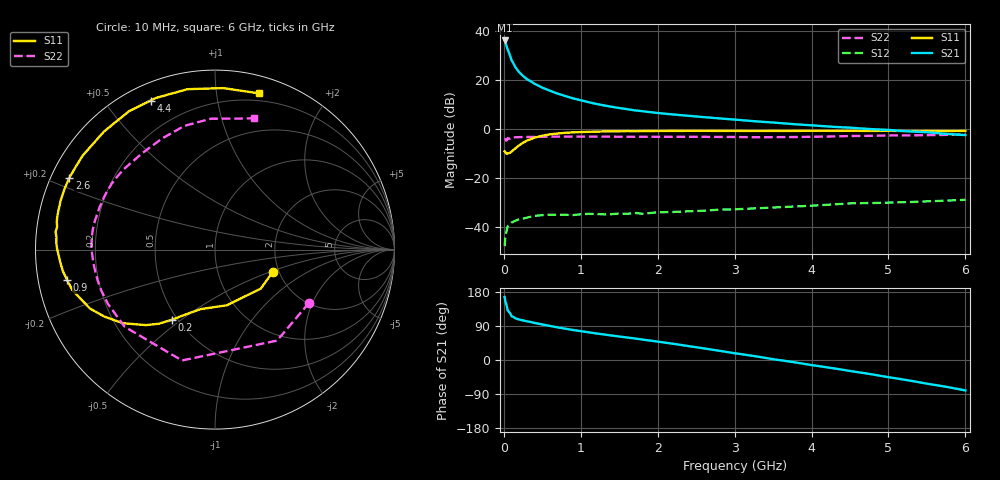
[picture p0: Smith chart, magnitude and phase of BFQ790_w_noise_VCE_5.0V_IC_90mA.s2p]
! Infineon Technologies  Discrete & RF Semiconductors
! BFQ790
! VCE =  5.0 V,  IC =  90 mA
! Common Emitter S-Parameters:  May 2015
# GHz  S  MA  R  50
!  f  S11  S21  S12  S22
! GHz  MAG  ANG  MAG  ANG  MAG  ANG  MAG  ANG
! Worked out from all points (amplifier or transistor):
!   77 points, 10 MHz to 6 GHz, reference 50 ohm
!   highest |S21| = 36.0 dB at 10 MHz (marker M1)
!   |S21| within 3 dB of that: start of sweep to 42.29 MHz
!   unconditionally stable (mu >= 1): start of sweep to 16.37 MHz; 228.6 MHz to 385.4 MHz; 1.15 GHz to end of sweep
!   at 130 MHz: K = 0.83, MSG = 32.1 dB, |S12| = -37.9 dB
!   at 2.2 GHz: K = 1.23, MAG = 17.0 dB, |S12| = -34.0 dB
!   at 6 GHz: K = 1.32, MAG = 9.8 dB, |S12| = -29.0 dB
!   lowest NFmin = 2.52 dB at 1.5 GHz
!   S11 on the Smith chart (normalised r, x): 10 MHz: 1.86, -0.52; 200 MHz: 0.47, -0.46; 900 MHz: 0.09, -0.10; 2.6 GHz: 0.05, +0.23; 4.4 GHz: 0.07, +0.65; 6 GHz: 0.14, +1.31
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0.01  0.3454 -20.8  63.4 166.4  0.004 32.7  0.6022 -29.5
0.02  0.3351 -40.5  58.69 154.2  0.0063 43.9  0.6137 -55.7
0.05  0.3172 -78.2  41.17 130.7  0.0101 32.5  0.6446 -106.6
0.1  0.341 -103.5  25.02 115.7  0.0121 19.7  0.662 -139.6
0.15  0.3981 -114.6  17.98 110.1  0.0132 20.2  0.6691 -153.2
0.2  0.4594 -121.6  14.23 106.7  0.0143 20.1  0.6738 -160.6
0.25  0.5187 -127.2  11.92 104.4  0.0146 19.5  0.6758 -165.3
0.3  0.5706 -132.5  10.3 102.1  0.0153 16.3  0.6773 -168.8
0.4  0.6582 -141.5  8.256 97.8  0.0167 13.5  0.682 -173.8
0.5  0.7197 -148.7  6.9 93.7  0.0172 11.0  0.6843 -177.4
0.6  0.7697 -154.7  5.947 89.9  0.0176 9.1  0.688 179.6
0.7  0.7982 -160.0  5.196 86.0  0.0176 8.3  0.6889 177.3
0.9  0.842 -168.5  4.165 79.1  0.0173 4.7  0.6893 173.5
1.1  0.8645 -175.1  3.483 73.1  0.0183 3.8  0.6898 170.2
1.5  0.8857 175.5  2.647 62.0  0.0186 1.5  0.6857 164.8
2.1  0.9003 164.2  2.024 45.7  0.0198 -0.6  0.6834 156.6
2.6  0.9048 153.8  1.725 30.6  0.0212 -2.5  0.6826 147.5
3.1  0.9012 142.2  1.49 15.0  0.023 -9.0  0.6747 136.6
4.1  0.9051 119.8  1.144 -16.3  0.0274 -19.7  0.6881 113.2
4.4  0.9045 113.4  1.069 -25.6  0.0292 -24.1  0.7029 106.2
5.1  0.9021 97.2  0.92 -48.5  0.0313 -36.0  0.7294 89.7
6  0.9043 74.3  0.742 -80.3  0.0354 -54.0  0.7637 73.4
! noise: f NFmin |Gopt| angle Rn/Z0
0.45  3.79  0.38  129  0.39
0.9  2.73  0.52  163  0.14
1.5  2.52  0.64  -176  0.07
1.8  2.64  0.67  -170  0.08
2.6  3.12  0.72  -153  0.19
3.5  3.78  0.82  -137  0.46
